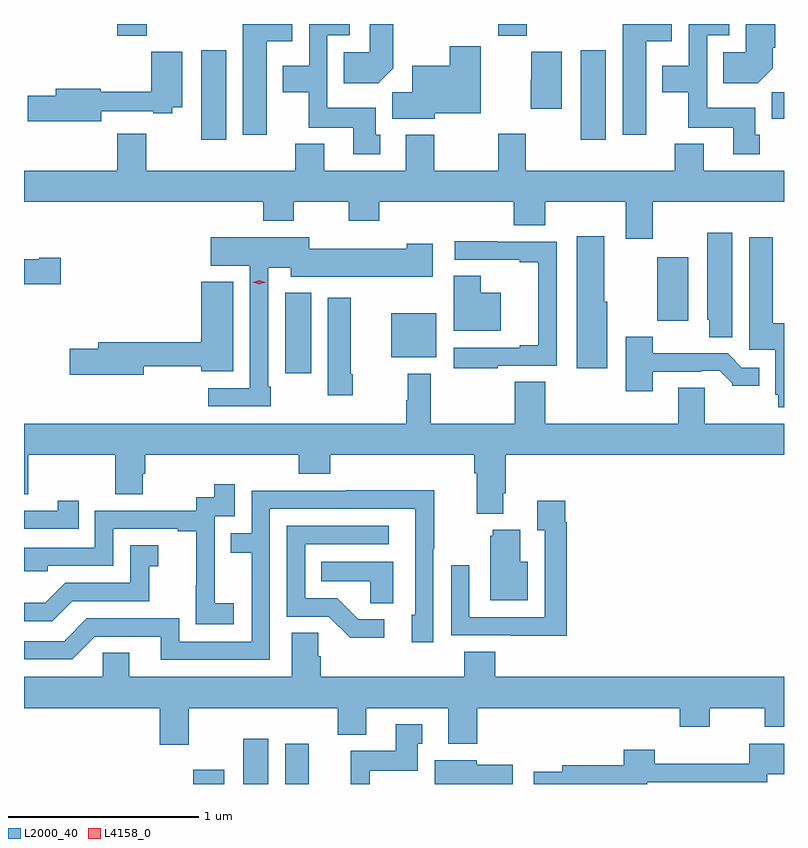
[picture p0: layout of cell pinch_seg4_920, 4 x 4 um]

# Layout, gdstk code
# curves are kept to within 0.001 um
import gdstk
lib = gdstk.Library(unit=1e-6, precision=1e-09)
def R(c, l, rs):  # rectangles x0, y0, x1, y1
    for r in rs: c.add(gdstk.rectangle(r[:2], r[2:], *l))
def P(c, l, *ps):  # polygons
    for p in ps: c.add(gdstk.Polygon(p, *l))
L2000_40 = (2000, 40)
L4158_0 = (4158, 0)

pinch_seg4_920 = lib.new_cell('pinch_seg4_920')
R(pinch_seg4_920, L2000_40, [(648.392,803.08,648.556,803.155), (648.656,803.08,648.787,803.317), (648.875,803.08,649,803.293), (648.875,805.242,649.012,805.666), (649.433,805.325,649.672,805.558), (650.834,805.517,650.998,805.852), (648.434,806.472,648.565,806.941), (650.432,806.472,650.563,806.941), (651.437,806.582,651.501,806.72), (647.993,807.017,648.148,807.08), (649.996,807.017,650.146,807.08)])
P(pinch_seg4_920, L2000_40, [(651.373,806.496),(651.349,806.496),(651.349,806.638),(651.096,806.638),(651.096,807.021),(651.214,807.021),(651.214,807.08),(651,807.08),(651,806.86),(650.861,806.86),(650.861,806.72),(650.998,806.72),(650.998,806.534),(651.233,806.534),(651.233,806.394),(651.373,806.394)],
  [(649.375,806.496),(649.351,806.496),(649.351,806.638),(649.098,806.638),(649.098,807.021),(649.216,807.021),(649.216,807.08),(649.002,807.08),(649.002,806.86),(648.863,806.86),(648.863,806.72),(649,806.72),(649,806.534),(649.235,806.534),(649.235,806.394),(649.375,806.394)],
  [(650.776,806.99),(650.91,806.99),(650.91,807.08),(650.651,807.08),(650.651,806.496),(650.776,806.496)],
  [(648.778,806.99),(648.912,806.99),(648.912,807.08),(648.653,807.08),(648.653,806.496),(648.778,806.496)],
  [(651.442,806.846),(651.442,806.956),(651.455,806.956),(651.455,807.078),(651.421,807.078),(651.421,807.08),(651.299,807.08),(651.299,806.932),(651.181,806.932),(651.181,806.768),(651.364,806.768)],
  [(649.444,806.846),(649.444,807.08),(649.322,807.08),(649.322,806.932),(649.183,806.932),(649.183,806.768),(649.366,806.768)],
  [(649.662,806.609),(649.906,806.609),(649.906,806.962),(649.741,806.962),(649.741,806.86),(649.544,806.86),(649.544,806.72),(649.439,806.72),(649.439,806.582),(649.662,806.582)],
  [(650.332,806.935),(650.17,806.935),(650.17,806.787),(650.168,806.787),(650.168,806.634),(650.332,806.634)],
  [(647.908,806.622),(648.182,806.622),(648.182,806.61),(648.282,806.61),(648.282,806.642),(648.334,806.642),(648.334,806.935),(648.172,806.935),(648.172,806.723),(647.904,806.723),(647.904,806.738),(647.669,806.738),(647.669,806.702),(647.52,806.702),(647.52,806.567),(647.908,806.567)],
  [(650.809,806.144),(651.501,806.144),(651.501,806.308),(651.079,806.308),(651.079,806.449),(650.927,806.449),(650.927,806.308),(650.143,806.308),(650.143,806.503),(649.996,806.503),(649.996,806.308),(649.659,806.308),(649.659,806.497),(649.511,806.497),(649.511,806.308),(649.081,806.308),(649.081,806.449),(648.929,806.449),(648.929,806.308),(648.145,806.308),(648.145,806.503),(647.993,806.503),(647.993,806.308),(647.501,806.308),(647.501,806.144),(648.761,806.144),(648.761,806.045),(648.921,806.045),(648.921,806.144),(649.21,806.144),(649.21,806.045),(649.37,806.045),(649.37,806.144),(650.078,806.144),(650.078,806.02),(650.244,806.02),(650.244,806.144),(650.669,806.144),(650.669,805.95),(650.809,805.95)],
  [(651.229,805.981),(651.098,805.981),(651.098,805.524),(651.107,805.524),(651.107,805.432),(651.229,805.432)],
  [(650.572,805.617),(650.554,805.617),(650.554,805.963),(650.411,805.963),(650.411,805.269),(650.572,805.269)],
  [(651.501,805.504),(651.442,805.504),(651.442,805.957),(651.317,805.957),(651.317,805.365),(651.455,805.365),(651.455,805.128),(651.472,805.128),(651.472,805.062),(651.501,805.062)],
  [(648.799,805.171),(648.786,805.171),(648.786,805.796),(648.905,805.796),(648.905,805.751),(649.651,805.751),(649.651,805.924),(649.515,805.924),(649.515,805.897),(649.003,805.897),(649.003,805.957),(648.483,805.957),(648.483,805.808),(648.69,805.808),(648.69,805.164),(648.471,805.164),(648.471,805.068),(648.799,805.068)],
  [(649.994,805.281),(650.304,805.281),(650.304,805.935),(649.994,805.935),(649.994,805.937),(649.767,805.937),(649.767,805.839),(650.111,805.839),(650.111,805.827),(650.207,805.827),(650.207,805.39),(650.111,805.39),(650.111,805.377),(649.764,805.377),(649.764,805.269),(649.994,805.269)],
  [(647.695,805.851),(647.582,805.851),(647.582,805.843),(647.501,805.843),(647.501,805.709),(647.695,805.709)],
  [(650.011,805.666),(649.905,805.666),(649.905,805.754),(649.763,805.754),(649.763,805.466),(650.011,805.466)],
  [(648.13,805.278),(648.434,805.278),(648.434,805.253),(648.601,805.253),(648.601,805.723),(648.434,805.723),(648.434,805.406),(647.891,805.406),(647.891,805.37),(647.742,805.37),(647.742,805.235),(648.13,805.235)],
  [(649.23,805.237),(649.222,805.237),(649.222,805.639),(649.1,805.639),(649.1,805.125),(649.23,805.125)],
  [(650.809,805.251),(651.065,805.251),(651.065,805.254),(651.164,805.254),(651.228,805.19),(651.228,805.175),(651.37,805.175),(651.37,805.272),(651.279,805.272),(651.204,805.347),(650.809,805.348),(650.809,805.435),(650.669,805.435),(650.669,805.146),(650.809,805.146)],
  [(649.871,804.716),(649.883,804.716),(649.883,804.503),(650.023,804.503),(650.023,804.61),(650.036,804.61),(650.036,804.812),(651.501,804.812),(651.501,804.976),(651.085,804.976),(651.085,805.166),(650.945,805.166),(650.945,804.976),(650.244,804.976),(650.244,805.196),(650.083,805.196),(650.083,804.976),(649.642,804.976),(649.642,805.24),(649.521,805.24),(649.521,805.1),(649.513,805.1),(649.513,804.976),(647.501,804.976),(647.501,804.604),(647.523,804.604),(647.523,804.812),(647.98,804.812),(647.98,804.604),(648.127,804.604),(648.127,804.714),(648.14,804.714),(648.14,804.812),(648.947,804.812),(648.947,804.713),(649.112,804.713),(649.112,804.812),(649.871,804.812)],
  [(648.604,804.031),(648.506,804.031),(648.506,804.26),(648.504,804.26),(648.504,804.489),(648.609,804.489),(648.609,804.658),(648.501,804.658),(648.501,804.588),(648.408,804.588),(648.408,804.519),(647.874,804.519),(647.874,804.324),(647.501,804.324),(647.501,804.201),(647.625,804.201),(647.625,804.228),(647.97,804.228),(647.97,804.423),(648.311,804.423),(648.311,804.411),(648.407,804.411),(648.407,804.127),(648.406,804.127),(648.406,803.921),(648.604,803.921)],
  [(648.795,804.528),(649.56,804.528),(649.56,803.97),(649.541,803.97),(649.541,803.826),(649.656,803.826),(649.656,804.319),(649.659,804.319),(649.659,804.626),(649.195,804.626),(649.195,804.624),(648.699,804.624),(648.699,804.399),(648.589,804.399),(648.589,804.298),(648.699,804.298),(648.699,803.829),(648.318,803.829),(648.318,803.952),(647.832,803.952),(647.712,803.832),(647.501,803.832),(647.501,803.736),(647.754,803.736),(647.874,803.856),(648.221,803.856),(648.221,803.733),(648.795,803.733)],
  [(650.357,804.458),(650.35,804.458),(650.35,804.571),(650.201,804.571),(650.201,804.415),(650.241,804.415),(650.241,803.958),(649.845,803.958),(649.845,804.232),(649.749,804.232),(649.749,803.862),(650.065,803.862),(650.065,803.861),(650.357,803.861)],
  [(647.789,804.571),(647.678,804.571),(647.678,804.519),(647.501,804.519),(647.501,804.423),(647.789,804.423)],
  [(649.396,803.946),(649.261,803.946),(649.15,804.057),(648.981,804.057),(648.981,804.342),(649.42,804.342),(649.42,804.438),(648.885,804.438),(648.885,803.961),(649.104,803.961),(649.217,803.849),(649.396,803.849)],
  [(650.152,804.25),(650.113,804.25),(650.113,804.418),(649.967,804.418),(649.967,804.387),(649.955,804.387),(649.955,804.047),(650.152,804.047)],
  [(647.755,804.042),(648.159,804.042),(648.159,804.227),(648.208,804.227),(648.208,804.337),(648.06,804.337),(648.06,804.138),(647.718,804.138),(647.614,804.034),(647.501,804.034),(647.501,803.937),(647.65,803.937)],
  [(649.444,804.25),(649.066,804.25),(649.066,804.146),(649.323,804.146),(649.323,804.031),(649.444,804.031)],
  [(649.817,803.644),(649.064,803.644),(649.064,803.753),(649.05,803.753),(649.05,803.876),(648.911,803.876),(648.911,803.644),(648.055,803.644),(648.055,803.771),(647.916,803.771),(647.916,803.644),(647.501,803.644),(647.501,803.48),(648.215,803.48),(648.215,803.286),(648.367,803.286),(648.367,803.48),(649.151,803.48),(649.151,803.339),(649.303,803.339),(649.303,803.48),(649.733,803.48),(649.733,803.291),(649.886,803.291),(649.886,803.48),(650.951,803.48),(650.951,803.381),(651.111,803.381),(651.111,803.48),(651.4,803.48),(651.4,803.381),(651.501,803.381),(651.501,803.644),(649.982,803.644),(649.982,803.777),(649.817,803.777)],
  [(649.32,803.15),(649.573,803.15),(649.573,803.292),(649.597,803.292),(649.597,803.395),(649.457,803.395),(649.457,803.254),(649.222,803.254),(649.222,803.08),(649.32,803.08)],
  [(650.781,803.088),(651.414,803.088),(651.414,803.132),(651.501,803.132),(651.501,803.293),(651.318,803.293),(651.318,803.186),(650.822,803.186),(650.822,803.26),(650.657,803.26),(650.657,803.179),(650.333,803.179),(650.333,803.145),(650.184,803.145),(650.184,803.08),(650.781,803.08)],
  [(650.074,803.182),(649.884,803.182),(649.884,803.206),(649.664,803.206),(649.664,803.08),(650.074,803.08)])
P(pinch_seg4_920, L4158_0, [(648.739,805.711),(648.704,805.721),(648.704,805.722),(648.704,805.722),(648.739,805.731),(648.774,805.721),(648.774,805.721),(648.774,805.721)])

lib.write_gds('pinch_seg4_920.gds')
